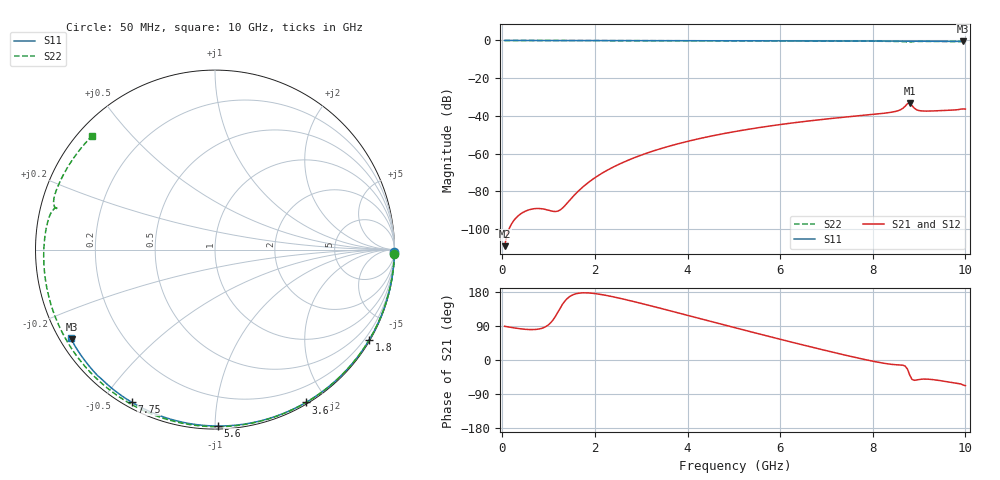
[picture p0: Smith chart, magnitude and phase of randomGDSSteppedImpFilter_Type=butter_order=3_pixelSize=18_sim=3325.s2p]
! freq	dB(S11)	phase(S11)	dB(S12)	phase(S12)
!  dB(S21)	phase(S21)	dB(S22)	phase(S22)
!S-par simulation data
#  GHz  S  DB  R 50
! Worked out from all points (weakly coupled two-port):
!   200 points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, 50 MHz to 10 GHz, reference 50 ohm
!   highest |S21| = -33.21 dB at 8.8 GHz (marker M1); lowest = -109.1 dB at 50 MHz (marker M2)
!   lowest |S11| = -0.5 dB at 9.95 GHz (marker M3), VSWR 32.47, Z = 1.67 - j14.4 ohm
!   |S11| at or under -10 dB: nowhere
!   |S22| runs from -0.9 to 0.0 dB; largest |S21 - S12| = 0
!   S11 on the Smith chart (normalised r, x): 50 MHz: open; 1.8 GHz: 0.03, -3.68; 3.6 GHz: 0.02, -1.76; 5.6 GHz: 0.02, -1.02; 7.75 GHz: 0.02, -0.59; 10 GHz: 0.03, -0.28
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0.05  -0.00 -0.8  -109.11 88.9  -109.11 88.9  -0.00 -1.3
0.8  -0.02 -13.6  -89.15 82.0  -89.15 82.0  -0.03 -20.8
1.6  -0.03 -27.1  -80.91 175.0  -80.91 175.0  -0.05 -41.1
1.75  -0.04 -29.5  -77.49 177.3  -77.49 177.3  -0.06 -44.9
1.8  -0.04 -30.4  -76.46 177.3  -76.46 177.3  -0.06 -46.1
2.1  -0.05 -35.3  -71.22 173.5  -71.22 173.5  -0.07 -53.4
2.45  -0.05 -41.0  -66.49 165.3  -66.49 165.3  -0.08 -61.8
3.4  -0.07 -56.1  -57.54 136.9  -57.54 136.9  -0.11 -83.8
3.6  -0.08 -59.2  -56.10 130.6  -56.10 130.6  -0.11 -88.3
4.3  -0.10 -69.9  -51.82 108.3  -51.82 108.3  -0.14 -103.5
5.05  -0.12 -81.1  -48.20 84.4  -48.20 84.4  -0.18 -119.2
5.6  -0.15 -89.0  -46.01 67.1  -46.01 67.1  -0.21 -130.4
6.7  -0.20 -104.4  -42.47 33.4  -42.47 33.4  -0.28 -152.5
7.75  -0.28 -118.6  -39.82 3.3  -39.82 3.3  -0.38 -173.8
8.35  -0.33 -126.6  -38.27 -10.6  -38.27 -10.6  -0.46 173.6
8.6  -0.35 -129.9  -36.73 -13.1  -36.73 -13.1  -0.55 167.9
8.75  -0.37 -131.8  -33.51 -24.3  -33.51 -24.3  -0.85 165.0
8.8  -0.36 -132.5  -33.21 -40.5  -33.21 -40.5  -0.86 165.6
8.9  -0.37 -133.9  -36.00 -53.6  -36.00 -53.6  -0.56 163.7
9.05  -0.39 -135.9  -37.37 -50.6  -37.37 -50.6  -0.50 159.7
9.95  -0.54 -147.9  -36.33 -66.0  -36.33 -66.0  -0.60 138.4
10  -0.53 -148.5  -36.39 -67.7  -36.39 -67.7  -0.60 137.2
